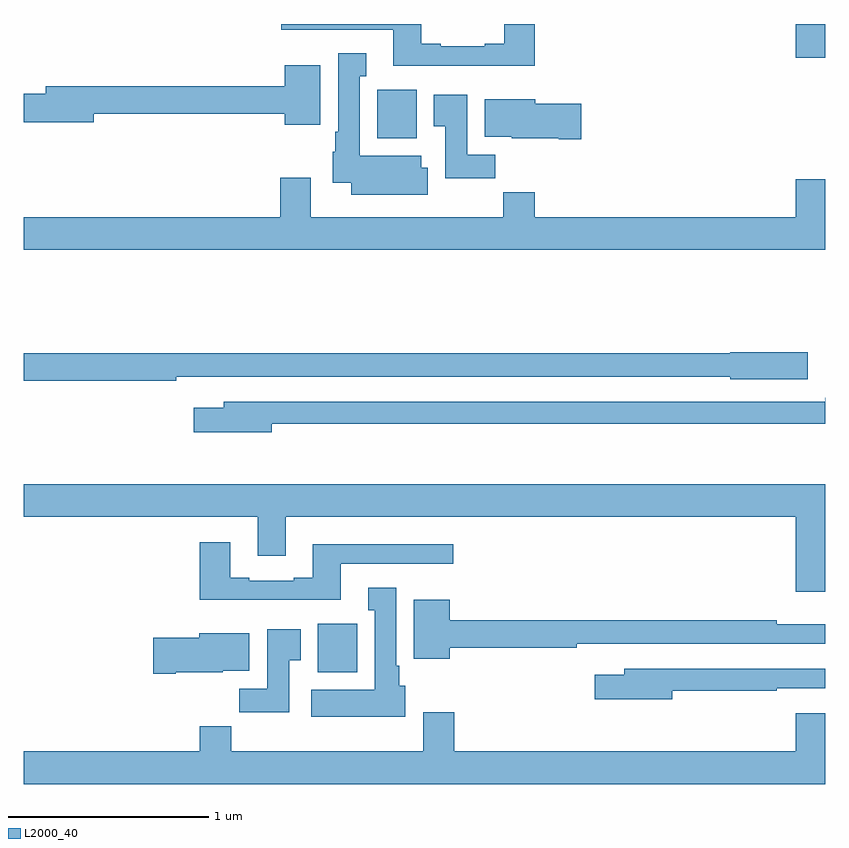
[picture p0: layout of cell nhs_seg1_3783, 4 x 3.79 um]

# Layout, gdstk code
import gdstk
lib = gdstk.Library(unit=1e-6, precision=1e-09)
def R(c, l, rs):  # rectangles x0, y0, x1, y1
    for r in rs: c.add(gdstk.rectangle(r[:2], r[2:], *l))
def P(c, l, *ps):  # polygons
    for p in ps: c.add(gdstk.Polygon(p, *l))
L2000_40 = (2000, 40)

nhs_seg1_3783 = lib.new_cell('nhs_seg1_3783')
R(nhs_seg1_3783, L2000_40, [(318.467,542.966,318.664,543.208), (318.764,545.63,318.961,545.872), (320.852,546.03,321,546.199)])
P(nhs_seg1_3783, L2000_40, [(319.55,546.199),(319.397,546.199),(319.397,546.1),(319.301,546.1),(319.301,546.087),(319.081,546.087),(319.081,546.1),(318.985,546.1),(318.985,546.199),(318.285,546.199),(318.285,546.171),(318.845,546.171),(318.845,545.99),(319.55,545.99)],
  [(319.015,545.483),(318.985,545.483),(318.985,545.542),(318.676,545.542),(318.676,545.939),(318.709,545.939),(318.709,546.052),(318.569,546.052),(318.569,545.662),(318.554,545.662),(318.554,545.562),(318.542,545.562),(318.542,545.408),(318.635,545.408),(318.635,545.348),(319.015,545.348)],
  [(318.481,545.992),(318.302,545.992),(318.302,545.888),(317.111,545.888),(317.111,545.852),(317,545.852),(317,545.71),(317.35,545.71),(317.35,545.752),(318.302,545.752),(318.302,545.696),(318.481,545.696)],
  [(319.352,545.548),(319.213,545.548),(319.213,545.845),(319.046,545.845),(319.046,545.689),(319.103,545.689),(319.103,545.43),(319.352,545.43)],
  [(319.783,545.801),(319.552,545.801),(319.552,545.824),(319.301,545.824),(319.301,545.636),(319.434,545.636),(319.434,545.63),(319.67,545.63),(319.67,545.623),(319.783,545.623)],
  [(321,545.425),(320.852,545.425),(320.852,545.236),(319.55,545.236),(319.55,545.36),(319.393,545.36),(319.393,545.236),(318.433,545.236),(318.433,545.431),(318.281,545.431),(318.281,545.236),(317,545.236),(317,545.072),(321,545.072)],
  [(317.762,544.44),(320.526,544.44),(320.526,544.427),(320.911,544.427),(320.911,544.562),(320.526,544.562),(320.526,544.556),(317,544.556),(317,544.42),(317.762,544.42)],
  [(318.238,544.206),(321,544.206),(321,544.334),(320.998,544.334),(320.998,544.314),(317.999,544.314),(317.999,544.285),(317.85,544.285),(317.85,544.163),(318.238,544.163)],
  [(321,543.904),(317,543.904),(317,543.74),(318.167,543.74),(318.167,543.546),(318.307,543.546),(318.307,543.74),(320.852,543.74),(320.852,543.366),(321,543.366)],
  [(318.583,543.507),(319.144,543.507),(319.144,543.604),(318.443,543.604),(318.443,543.436),(318.347,543.436),(318.347,543.423),(318.127,543.423),(318.127,543.436),(318.031,543.436),(318.031,543.613),(317.879,543.613),(317.879,543.326),(318.583,543.326)],
  [(318.904,542.898),(318.874,542.898),(318.874,542.998),(318.859,542.998),(318.859,543.388),(318.719,543.388),(318.719,543.275),(318.752,543.275),(318.752,542.878),(318.435,542.878),(318.435,542.744),(318.904,542.744)],
  [(319.126,543.088),(319.76,543.088),(319.76,543.108),(321,543.108),(321,543.205),(320.756,543.205),(320.756,543.224),(319.126,543.224),(319.126,543.328),(318.947,543.328),(318.947,543.032),(319.126,543.032)],
  [(318.325,543.025),(318.382,543.025),(318.382,543.181),(318.215,543.181),(318.215,542.884),(318.076,542.884),(318.076,542.766),(318.325,542.766)],
  [(317.758,542.966),(317.994,542.966),(317.994,542.972),(318.127,542.972),(318.127,543.16),(317.876,543.16),(317.876,543.137),(317.646,543.137),(317.646,542.959),(317.758,542.959)],
  [(320.236,542.874),(320.756,542.874),(320.756,542.886),(321,542.886),(321,542.982),(319.997,542.982),(319.997,542.953),(319.848,542.953),(319.848,542.831),(320.236,542.831)],
  [(321,542.761),(320.852,542.761),(320.852,542.572),(319.148,542.572),(319.148,542.767),(318.995,542.767),(318.995,542.572),(318.035,542.572),(318.035,542.696),(317.879,542.696),(317.879,542.572),(317,542.572),(317,542.408),(321,542.408)])

lib.write_gds('nhs_seg1_3783.gds')
